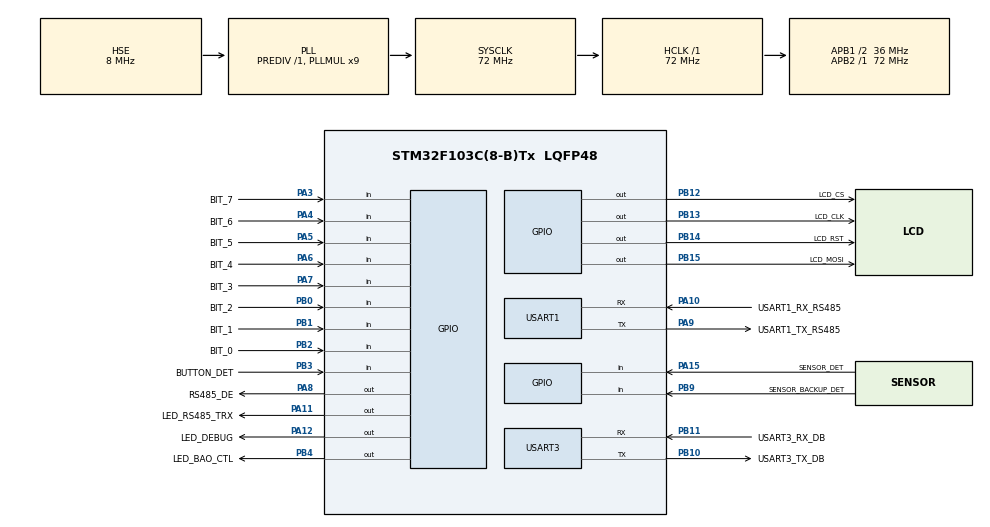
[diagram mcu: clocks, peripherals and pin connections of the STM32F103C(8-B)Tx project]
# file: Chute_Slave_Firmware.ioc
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Mcu.Family=STM32F1
Mcu.Name=STM32F103C(8-B)Tx
Mcu.Package=LQFP48
NVIC.PriorityGroup=NVIC_PRIORITYGROUP_4
NVIC.TIM1_UP_IRQn=true\:0\:0\:false\:false\:true\:true\:true\:true
NVIC.TIM2_IRQn=true\:0\:0\:false\:false\:true\:true\:true\:true
NVIC.USART1_IRQn=true\:0\:0\:false\:false\:true\:true\:true\:true
NVIC.USART3_IRQn=true\:0\:0\:false\:false\:true\:true\:true\:true
PA10.GPIO_Label=USART1_RX_RS485
PA10.Mode=Asynchronous
PA10.Signal=USART1_RX
PA11.GPIO_Label=LED_RS485_TRX
PA11.GPIO_Speed=GPIO_SPEED_FREQ_MEDIUM
PA11.Signal=GPIO_Output
PA12.GPIO_Label=LED_DEBUG
PA12.Signal=GPIO_Output
PA13.Mode=Serial_Wire
PA13.Signal=SYS_JTMS-SWDIO
PA14.Mode=Serial_Wire
PA14.Signal=SYS_JTCK-SWCLK
PA15.GPIO_Label=SENSOR_DET
PA15.Signal=GPIO_Input
PA3.GPIO_Label=BIT_7
PA3.GPIO_PuPd=GPIO_PULLUP
PA3.Signal=GPIO_Input
PA4.GPIO_Label=BIT_6
PA4.GPIO_PuPd=GPIO_PULLUP
PA4.Signal=GPIO_Input
PA5.GPIO_Label=BIT_5
PA5.GPIO_PuPd=GPIO_PULLUP
PA5.Signal=GPIO_Input
PA6.GPIO_Label=BIT_4
PA6.GPIO_PuPd=GPIO_PULLUP
PA6.Signal=GPIO_Input
PA7.GPIO_Label=BIT_3
PA7.GPIO_PuPd=GPIO_PULLUP
PA7.Signal=GPIO_Input
PA8.GPIO_Label=RS485_DE
PA8.GPIO_Speed=GPIO_SPEED_FREQ_HIGH
PA8.Signal=GPIO_Output
PA9.GPIO_Label=USART1_TX_RS485
PA9.Mode=Asynchronous
PA9.Signal=USART1_TX
PB0.GPIO_Label=BIT_2
PB0.GPIO_PuPd=GPIO_PULLUP
PB0.Signal=GPIO_Input
PB1.GPIO_Label=BIT_1
PB1.GPIO_PuPd=GPIO_PULLUP
PB1.Signal=GPIO_Input
PB10.GPIO_Label=USART3_TX_DB
PB10.Mode=Asynchronous
PB10.Signal=USART3_TX
PB11.GPIO_Label=USART3_RX_DB
PB11.Mode=Asynchronous
PB11.Signal=USART3_RX
PB12.GPIO_Label=LCD_CS
PB12.GPIO_Speed=GPIO_SPEED_FREQ_HIGH
PB12.Signal=GPIO_Output
PB13.GPIO_Label=LCD_CLK
PB13.GPIO_Speed=GPIO_SPEED_FREQ_HIGH
PB13.Signal=GPIO_Output
PB14.GPIO_Label=LCD_RST
PB14.GPIO_PuPd=GPIO_PULLUP
PB14.Signal=GPIO_Output
PB15.GPIO_Label=LCD_MOSI
PB15.GPIO_Speed=GPIO_SPEED_FREQ_HIGH
PB15.Signal=GPIO_Output
PB2.GPIO_Label=BIT_0
PB2.GPIO_PuPd=GPIO_PULLUP
PB2.Signal=GPIO_Input
PB3.GPIO_Label=BUTTON_DET
PB3.Signal=GPIO_Input
PB4.GPIO_Label=LED_BAO_CTL
PB4.Signal=GPIO_Output
PB9.GPIO_Label=SENSOR_BACKUP_DET
PB9.Signal=GPIO_Input
PD0-OSC_IN.Mode=HSE-External-Oscillator
PD0-OSC_IN.Signal=RCC_OSC_IN
PD1-OSC_OUT.Mode=HSE-External-Oscillator
PD1-OSC_OUT.Signal=RCC_OSC_OUT
ProjectManager.HeapSize=0x200
ProjectManager.StackSize=0x400
ProjectManager.TargetToolchain=MDK-ARM V5.32
RCC.AHBFreq_Value=72000000
RCC.APB1CLKDivider=RCC_HCLK_DIV2
RCC.APB1Freq_Value=36000000
RCC.APB1TimFreq_Value=72000000
RCC.APB2Freq_Value=72000000
RCC.APB2TimFreq_Value=72000000
RCC.HCLKFreq_Value=72000000
RCC.PLLMUL=RCC_PLL_MUL9
RCC.PLLSourceVirtual=RCC_PLLSOURCE_HSE
RCC.SYSCLKFreq_VALUE=72000000
RCC.SYSCLKSource=RCC_SYSCLKSOURCE_PLLCLK
RCC.USBFreq_Value=72000000
TIM1.AutoReloadPreload=TIM_AUTORELOAD_PRELOAD_ENABLE
TIM1.Period=65535
TIM1.Prescaler=71
TIM2.AutoReloadPreload=TIM_AUTORELOAD_PRELOAD_ENABLE
TIM2.Period=999
TIM2.Prescaler=71
USART1.VirtualMode=VM_ASYNC
USART3.VirtualMode=VM_ASYNC
VP_TIM1_VS_ClockSourceINT.Mode=Internal
VP_TIM2_VS_ClockSourceINT.Mode=Internal
board=custom

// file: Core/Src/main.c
/* USER CODE BEGIN Header */
/**
  ******************************************************************************
  * @file           : main.c
  * @brief          : Main program body
  ******************************************************************************
  * @attention
  *
  * Copyright (c) 2024 STMicroelectronics.
  * All rights reserved.
  *
  * This software is licensed under terms that can be found in the LICENSE file
  * in the root directory of this software component.
  * If no LICENSE file comes with this software, it is provided AS-IS.
  *
  ******************************************************************************
  */
/* USER CODE END Header */
#include "main.h"

/* USER CODE BEGIN Includes */

	#include <string.h>
	#include <stdio.h>
	#include <stdlib.h>
	#include <stdbool.h>

	#include "st7920.h"
	#include "rs485.h"
	#include "user.h"
	#include "flash_address.h"

/* USER CODE END Includes */

TIM_HandleTypeDef htim1;
TIM_HandleTypeDef htim2;

UART_HandleTypeDef huart1;
UART_HandleTypeDef huart3;

/* USER CODE BEGIN PV */

	uint32_t tick_debug = 0;

/* USER CODE END PV */

void SystemClock_Config(void);
static void MX_GPIO_Init(void);
static void MX_TIM1_Init(void);
static void MX_USART1_UART_Init(void);
static void MX_USART3_UART_Init(void);
static void MX_TIM2_Init(void);

int main(void)
{

  /* MCU Configuration--------------------------------------------------------*/

  /* Reset of all peripherals, Initializes the Flash interface and the Systick. */
  HAL_Init();

  /* Configure the system clock */
  SystemClock_Config();

  /* Initialize all configured peripherals */
  MX_GPIO_Init();
  MX_TIM1_Init();
  MX_USART1_UART_Init();
  MX_USART3_UART_Init();
  MX_TIM2_Init();
  /* USER CODE BEGIN 2 */

		OFF_DEN_BAO();

		RS485_Init(&vRS485, &huart1);

		/*INit LCD Display*/
		HAL_TIM_Base_Start_IT(&htim1);
		ST7920_Init();

		ST7920_GraphicMode(1);
		ST7920_DrawBitmap(viettel_post);

		HAL_Delay(500);

		ST7920_GraphicMode(0);
		ST7920_Clear();

		sprintf((char*)ROW0, "TT KHAI THAC 1");
		sprintf((char*)ROW1, "MACH MANG");
		sprintf((char*)ROW2, "So Thu Tu: %d", vRS485.Sequence_number);

		ST7920_SendString(3, 0, (char*)ROW3);
		ST7920_SendString(2, 0, (char*)ROW2);
		ST7920_SendString(1, 0, (char*)ROW1);
		ST7920_SendString(0, 0, (char*)ROW0);

		//Flash_Erase(ADDRES_DATA_STORAGE);
		Load_Infor_Chute_Func();

		HAL_TIM_Base_Start_IT(&htim2);

		HAL_GPIO_WritePin(LED_DEBUG_GPIO_Port, LED_DEBUG_Pin, GPIO_PIN_RESET);

  /* USER CODE END 2 */

  /* Infinite loop */
  while (1)
  {

    /* USER CODE BEGIN 3 */

	/*----------------------------------------------------*/
		tick_debug++;

	/*----------------------------------------------------*/
		//Check_Connection_Master();

	/*----------------------------------------------------*/
		Process_Chute();

	/*----------------------------------------------------*/
		RS485_Transmit(&vRS485);

	/*----------------------------------------------------*/
		Display_LCD(CYCLE_LCD);

	/*----------------------------------------------------*/
		//BlinkLed_Debug();

	/*----------------------------------------------------*/
	//HAL_GPIO_WritePin(RS485_DE_GPIO_Port, RS485_DE_Pin, GPIO_PIN_RESET);
  }
  /* USER CODE END 3 */
}

void SystemClock_Config(void)
{
  RCC_OscInitTypeDef RCC_OscInitStruct = {0};
  RCC_ClkInitTypeDef RCC_ClkInitStruct = {0};

  /** Initializes the RCC Oscillators according to the specified parameters
  * in the RCC_OscInitTypeDef structure.
  */
  RCC_OscInitStruct.OscillatorType = RCC_OSCILLATORTYPE_HSE;
  RCC_OscInitStruct.HSEState = RCC_HSE_ON;
  RCC_OscInitStruct.HSEPredivValue = RCC_HSE_PREDIV_DIV1;
  RCC_OscInitStruct.HSIState = RCC_HSI_ON;
  RCC_OscInitStruct.PLL.PLLState = RCC_PLL_ON;
  RCC_OscInitStruct.PLL.PLLSource = RCC_PLLSOURCE_HSE;
  RCC_OscInitStruct.PLL.PLLMUL = RCC_PLL_MUL9;
  if (HAL_RCC_OscConfig(&RCC_OscInitStruct) != HAL_OK)
  {
    Error_Handler();
  }

  /** Initializes the CPU, AHB and APB buses clocks
  */
  RCC_ClkInitStruct.ClockType = RCC_CLOCKTYPE_HCLK|RCC_CLOCKTYPE_SYSCLK
                              |RCC_CLOCKTYPE_PCLK1|RCC_CLOCKTYPE_PCLK2;
  RCC_ClkInitStruct.SYSCLKSource = RCC_SYSCLKSOURCE_PLLCLK;
  RCC_ClkInitStruct.AHBCLKDivider = RCC_SYSCLK_DIV1;
  RCC_ClkInitStruct.APB1CLKDivider = RCC_HCLK_DIV2;
  RCC_ClkInitStruct.APB2CLKDivider = RCC_HCLK_DIV1;

  if (HAL_RCC_ClockConfig(&RCC_ClkInitStruct, FLASH_LATENCY_2) != HAL_OK)
  {
    Error_Handler();
  }
}

static void MX_TIM1_Init(void)
{

  TIM_ClockConfigTypeDef sClockSourceConfig = {0};
  TIM_MasterConfigTypeDef sMasterConfig = {0};

  htim1.Instance = TIM1;
  htim1.Init.Prescaler = 71;
  htim1.Init.CounterMode = TIM_COUNTERMODE_UP;
  htim1.Init.Period = 65535;
  htim1.Init.ClockDivision = TIM_CLOCKDIVISION_DIV1;
  htim1.Init.RepetitionCounter = 0;
  htim1.Init.AutoReloadPreload = TIM_AUTORELOAD_PRELOAD_ENABLE;
  if (HAL_TIM_Base_Init(&htim1) != HAL_OK)
  {
    Error_Handler();
  }
  sClockSourceConfig.ClockSource = TIM_CLOCKSOURCE_INTERNAL;
  if (HAL_TIM_ConfigClockSource(&htim1, &sClockSourceConfig) != HAL_OK)
  {
    Error_Handler();
  }
  sMasterConfig.MasterOutputTrigger = TIM_TRGO_RESET;
  sMasterConfig.MasterSlaveMode = TIM_MASTERSLAVEMODE_DISABLE;
  if (HAL_TIMEx_MasterConfigSynchronization(&htim1, &sMasterConfig) != HAL_OK)
  {
    Error_Handler();
  }

}

static void MX_TIM2_Init(void)
{

  TIM_ClockConfigTypeDef sClockSourceConfig = {0};
  TIM_MasterConfigTypeDef sMasterConfig = {0};

  htim2.Instance = TIM2;
  htim2.Init.Prescaler = 71;
  htim2.Init.CounterMode = TIM_COUNTERMODE_UP;
  htim2.Init.Period = 999;
  htim2.Init.ClockDivision = TIM_CLOCKDIVISION_DIV1;
  htim2.Init.AutoReloadPreload = TIM_AUTORELOAD_PRELOAD_ENABLE;
  if (HAL_TIM_Base_Init(&htim2) != HAL_OK)
  {
    Error_Handler();
  }
  sClockSourceConfig.ClockSource = TIM_CLOCKSOURCE_INTERNAL;
  if (HAL_TIM_ConfigClockSource(&htim2, &sClockSourceConfig) != HAL_OK)
  {
    Error_Handler();
  }
  sMasterConfig.MasterOutputTrigger = TIM_TRGO_RESET;
  sMasterConfig.MasterSlaveMode = TIM_MASTERSLAVEMODE_DISABLE;
  if (HAL_TIMEx_MasterConfigSynchronization(&htim2, &sMasterConfig) != HAL_OK)
  {
    Error_Handler();
  }

}

static void MX_USART1_UART_Init(void)
{

  huart1.Instance = USART1;
  huart1.Init.BaudRate = 115200;
  huart1.Init.WordLength = UART_WORDLENGTH_8B;
  huart1.Init.StopBits = UART_STOPBITS_1;
  huart1.Init.Parity = UART_PARITY_NONE;
  huart1.Init.Mode = UART_MODE_TX_RX;
  huart1.Init.HwFlowCtl = UART_HWCONTROL_NONE;
  huart1.Init.OverSampling = UART_OVERSAMPLING_16;
  if (HAL_UART_Init(&huart1) != HAL_OK)
  {
    Error_Handler();
  }

}

static void MX_USART3_UART_Init(void)
{

  huart3.Instance = USART3;
  huart3.Init.BaudRate = 115200;
  huart3.Init.WordLength = UART_WORDLENGTH_8B;
  huart3.Init.StopBits = UART_STOPBITS_1;
  huart3.Init.Parity = UART_PARITY_NONE;
  huart3.Init.Mode = UART_MODE_TX_RX;
  huart3.Init.HwFlowCtl = UART_HWCONTROL_NONE;
  huart3.Init.OverSampling = UART_OVERSAMPLING_16;
  if (HAL_UART_Init(&huart3) != HAL_OK)
  {
    Error_Handler();
  }

}

static void MX_GPIO_Init(void)
{
  GPIO_InitTypeDef GPIO_InitStruct = {0};

  /* GPIO Ports Clock Enable */
  __HAL_RCC_GPIOD_CLK_ENABLE();
  __HAL_RCC_GPIOA_CLK_ENABLE();
  __HAL_RCC_GPIOB_CLK_ENABLE();

  /*Configure GPIO pin Output Level */
  HAL_GPIO_WritePin(GPIOB, LCD_CS_Pin|LCD_CLK_Pin|LCD_RST_Pin|LCD_MOSI_Pin
                          |LED_BAO_CTL_Pin, GPIO_PIN_RESET);

  /*Configure GPIO pin Output Level */
  HAL_GPIO_WritePin(GPIOA, RS485_DE_Pin|LED_RS485_TRX_Pin|LED_DEBUG_Pin, GPIO_PIN_RESET);

  /*Configure GPIO pins : BIT_7_Pin BIT_6_Pin BIT_5_Pin BIT_4_Pin
                           BIT_3_Pin */
  GPIO_InitStruct.Pin = BIT_7_Pin|BIT_6_Pin|BIT_5_Pin|BIT_4_Pin
                          |BIT_3_Pin;
  GPIO_InitStruct.Mode = GPIO_MODE_INPUT;
  GPIO_InitStruct.Pull = GPIO_PULLUP;
  HAL_GPIO_Init(GPIOA, &GPIO_InitStruct);

  /*Configure GPIO pins : BIT_2_Pin BIT_1_Pin BIT_0_Pin */
  GPIO_InitStruct.Pin = BIT_2_Pin|BIT_1_Pin|BIT_0_Pin;
  GPIO_InitStruct.Mode = GPIO_MODE_INPUT;
  GPIO_InitStruct.Pull = GPIO_PULLUP;
  HAL_GPIO_Init(GPIOB, &GPIO_InitStruct);

  /*Configure GPIO pins : LCD_CS_Pin LCD_CLK_Pin LCD_MOSI_Pin */
  GPIO_InitStruct.Pin = LCD_CS_Pin|LCD_CLK_Pin|LCD_MOSI_Pin;
  GPIO_InitStruct.Mode = GPIO_MODE_OUTPUT_PP;
  GPIO_InitStruct.Pull = GPIO_NOPULL;
  GPIO_InitStruct.Speed = GPIO_SPEED_FREQ_HIGH;
  HAL_GPIO_Init(GPIOB, &GPIO_InitStruct);

  /*Configure GPIO pin : LCD_RST_Pin */
  GPIO_InitStruct.Pin = LCD_RST_Pin;
  GPIO_InitStruct.Mode = GPIO_MODE_OUTPUT_PP;
  GPIO_InitStruct.Pull = GPIO_PULLUP;
  GPIO_InitStruct.Speed = GPIO_SPEED_FREQ_LOW;
  HAL_GPIO_Init(LCD_RST_GPIO_Port, &GPIO_InitStruct);

  /*Configure GPIO pin : RS485_DE_Pin */
  GPIO_InitStruct.Pin = RS485_DE_Pin;
  GPIO_InitStruct.Mode = GPIO_MODE_OUTPUT_PP;
  GPIO_InitStruct.Pull = GPIO_NOPULL;
  GPIO_InitStruct.Speed = GPIO_SPEED_FREQ_HIGH;
  HAL_GPIO_Init(RS485_DE_GPIO_Port, &GPIO_InitStruct);

  /*Configure GPIO pin : LED_RS485_TRX_Pin */
  GPIO_InitStruct.Pin = LED_RS485_TRX_Pin;
  GPIO_InitStruct.Mode = GPIO_MODE_OUTPUT_PP;
  GPIO_InitStruct.Pull = GPIO_NOPULL;
  GPIO_InitStruct.Speed = GPIO_SPEED_FREQ_MEDIUM;
  HAL_GPIO_Init(LED_RS485_TRX_GPIO_Port, &GPIO_InitStruct);

  /*Configure GPIO pin : LED_DEBUG_Pin */
  GPIO_InitStruct.Pin = LED_DEBUG_Pin;
  GPIO_InitStruct.Mode = GPIO_MODE_OUTPUT_PP;
  GPIO_InitStruct.Pull = GPIO_NOPULL;
  GPIO_InitStruct.Speed = GPIO_SPEED_FREQ_LOW;
  HAL_GPIO_Init(LED_DEBUG_GPIO_Port, &GPIO_InitStruct);

  /*Configure GPIO pin : SENSOR_DET_Pin */
  GPIO_InitStruct.Pin = SENSOR_DET_Pin;
  GPIO_InitStruct.Mode = GPIO_MODE_INPUT;
  GPIO_InitStruct.Pull = GPIO_NOPULL;
  HAL_GPIO_Init(SENSOR_DET_GPIO_Port, &GPIO_InitStruct);

  /*Configure GPIO pins : BUTTON_DET_Pin SENSOR_BACKUP_DET_Pin */
  GPIO_InitStruct.Pin = BUTTON_DET_Pin|SENSOR_BACKUP_DET_Pin;
  GPIO_InitStruct.Mode = GPIO_MODE_INPUT;
  GPIO_InitStruct.Pull = GPIO_NOPULL;
  HAL_GPIO_Init(GPIOB, &GPIO_InitStruct);

  /*Configure GPIO pin : LED_BAO_CTL_Pin */
  GPIO_InitStruct.Pin = LED_BAO_CTL_Pin;
  GPIO_InitStruct.Mode = GPIO_MODE_OUTPUT_PP;
  GPIO_InitStruct.Pull = GPIO_NOPULL;
  GPIO_InitStruct.Speed = GPIO_SPEED_FREQ_LOW;
  HAL_GPIO_Init(LED_BAO_CTL_GPIO_Port, &GPIO_InitStruct);

}

void Error_Handler(void)
{
  __disable_irq();
  while (1)
  {
  }
}
